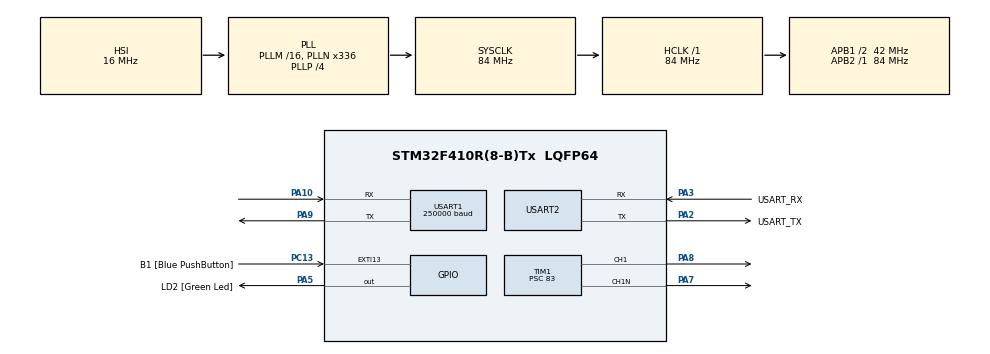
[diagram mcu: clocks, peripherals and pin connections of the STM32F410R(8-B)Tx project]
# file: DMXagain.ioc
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Mcu.Family=STM32F4
Mcu.Name=STM32F410R(8-B)Tx
Mcu.Package=LQFP64
NVIC.PriorityGroup=NVIC_PRIORITYGROUP_0
NVIC.USART1_IRQn=true\:0\:0\:false\:false\:true\:true\:true\:true
NVIC.USART2_IRQn=true\:0\:0\:false\:false\:true\:true\:true\:true
PA10.Mode=Asynchronous
PA10.Signal=USART1_RX
PA13.GPIO_Label=TMS
PA13.Mode=Serial_Wire
PA13.Signal=SYS_JTMS-SWDIO
PA14.GPIO_Label=TCK
PA14.Mode=Serial_Wire
PA14.Signal=SYS_JTCK-SWCLK
PA2.GPIO_Label=USART_TX
PA2.Mode=Asynchronous
PA2.Signal=USART2_TX
PA3.GPIO_Label=USART_RX
PA3.Mode=Asynchronous
PA3.Signal=USART2_RX
PA5.GPIO_Label=LD2 [Green Led]
PA5.Signal=GPIO_Output
PA7.Mode=PWM Generation1 CH1 CH1N
PA7.Signal=TIM1_CH1N
PA8.Signal=S_TIM1_CH1
PA9.Mode=Asynchronous
PA9.Signal=USART1_TX
PB3.GPIO_Label=SWO
PB3.Signal=SYS_JTDO-SWO
PC13-ANTI_TAMP.GPIO_Label=B1 [Blue PushButton]
PC13-ANTI_TAMP.GPIO_ModeDefaultEXTI=GPIO_MODE_IT_FALLING
PC13-ANTI_TAMP.Signal=GPXTI13
PC14-OSC32_IN.Mode=LSE-External-Oscillator
PC14-OSC32_IN.Signal=RCC_OSC32_IN
PC15-OSC32_OUT.Mode=LSE-External-Oscillator
PC15-OSC32_OUT.Signal=RCC_OSC32_OUT
PH0\ -\ OSC_IN.Mode=HSE-External-Clock-Source
PH0\ -\ OSC_IN.Signal=RCC_OSC_IN
PH1\ -\ OSC_OUT.Mode=HSE-External-Clock-Source
PH1\ -\ OSC_OUT.Signal=RCC_OSC_OUT
ProjectManager.HeapSize=0x200
ProjectManager.StackSize=0x400
ProjectManager.TargetToolchain=STM32CubeIDE
RCC.48MHZClocksFreq_Value=84000000
RCC.AHBFreq_Value=84000000
RCC.APB1CLKDivider=RCC_HCLK_DIV2
RCC.APB1Freq_Value=42000000
RCC.APB1TimFreq_Value=84000000
RCC.APB2Freq_Value=84000000
RCC.APB2TimFreq_Value=84000000
RCC.CortexFreq_Value=84000000
RCC.FLatency-AdvancedSettings=FLASH_LATENCY_2
RCC.HCLKFreq_Value=84000000
RCC.HSE_VALUE=8000000
RCC.HSI_VALUE=16000000
RCC.PLLN=336
RCC.PLLP=RCC_PLLP_DIV4
RCC.SYSCLKFreq_VALUE=84000000
RCC.SYSCLKSource=RCC_SYSCLKSOURCE_PLLCLK
RCC.VCOOutputFreq_Value=336000000
SH.S_TIM1_CH1.0=TIM1_CH1,PWM Generation1 CH1 CH1N
TIM1.Channel-PWM\ Generation1\ CH1\ CH1N=TIM_CHANNEL_1
TIM1.Period=999
TIM1.Prescaler=83
USART1.BaudRate=250000
USART1.StopBits=STOPBITS_2
USART1.VirtualMode=VM_ASYNC
USART2.VirtualMode=VM_ASYNC
board=NUCLEO-F410RB

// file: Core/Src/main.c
/* USER CODE BEGIN Header */
/**
  ******************************************************************************
  * @file           : main.c
  * @brief          : Main program body
  ******************************************************************************
  * @attention
  *
  * Copyright (c) 2023 STMicroelectronics.
  * All rights reserved.
  *
  * This software is licensed under terms that can be found in the LICENSE file
  * in the root directory of this software component.
  * If no LICENSE file comes with this software, it is provided AS-IS.
  *
  ******************************************************************************
  */
/* USER CODE END Header */
#include "main.h"

/* USER CODE BEGIN PD */
#define uart2TxRxSize 32
#define DMXSize 513
/* USER CODE END PD */

TIM_HandleTypeDef htim1;

UART_HandleTypeDef huart1;
UART_HandleTypeDef huart2;

/* USER CODE BEGIN PV */
uint8_t data[DMXSize];
uint8_t newData;
uint16_t dmxChannel;
uint8_t errorFlag;
uint8_t uart2RxData[uart2TxRxSize];
uint8_t uart2TxData[uart2TxRxSize];
/* USER CODE END PV */

void SystemClock_Config(void);
static void MX_GPIO_Init(void);
static void MX_USART2_UART_Init(void);
static void MX_USART1_UART_Init(void);
static void MX_TIM1_Init(void);

int main(void)
{
  /* USER CODE BEGIN 1 */
	int sizeText;
	int i = 0;
  /* USER CODE END 1 */

  /* MCU Configuration--------------------------------------------------------*/

  /* Reset of all peripherals, Initializes the Flash interface and the Systick. */
  HAL_Init();

  /* Configure the system clock */
  SystemClock_Config();

  /* Initialize all configured peripherals */
  MX_GPIO_Init();
  MX_USART2_UART_Init();
  MX_USART1_UART_Init();
  MX_TIM1_Init();
  /* USER CODE BEGIN 2 */
    sizeText = snprintf(uart2TxData,uart2TxRxSize,"Booting...\r\n");
  	HAL_UART_Transmit(&huart2, uart2TxData, sizeText, 100);
  	HAL_UART_Receive_IT(&huart2, uart2RxData, 1);
  	HAL_UART_Receive_IT(&huart1, &newData, 1);
  	HAL_TIM_PWM_Start (&htim1, TIM_CHANNEL_1);
  /* USER CODE END 2 */

  /* Infinite loop */
  /* USER CODE BEGIN WHILE */
  while (1)
  {
	  char stockage[136];
	  snprintf(stockage, 136, "DMX1: %d, DMX2: %d, DMX3: %d, DMX4: %d, DMX5: %d, DMX6: %d, DMX7: %d, DMX8: %d, DMX9: %d, DMX10: %d, DMX11: %d, DMX12: %d\r\n", data[1],data[2],data[3],data[4],data[5],data[6],data[7],data[8],data[9],data[10],data[11],data[12]);
	  //HAL_UART_Transmit(&huart2, data,sizeof(data), HAL_MAX_DELAY);
	  HAL_UART_Transmit(&huart2, stockage,sizeof(stockage), HAL_MAX_DELAY);
	  //if(data[1]==128){
		//  HAL_UART_Transmit(&huart2, "oui",sizeof("oui"), HAL_MAX_DELAY);
	  //}
	  //HAL_UART_Transmit(&huart2, data[1],sizeof(data[1]), HAL_MAX_DELAY);
	  //HAL_Delay(500);

	//__HAL_TIM_SET_COMPARE(&htim1, TIM_CHANNEL_1, i);
	//i = (i+1)%990;
	//HAL_Delay(10);

	__HAL_TIM_SET_COMPARE(&htim1, TIM_CHANNEL_1, data[1]); //on controle la LED avec le chanel 1
    /* USER CODE END WHILE */

  }
}

void SystemClock_Config(void)
{
  RCC_OscInitTypeDef RCC_OscInitStruct = {0};
  RCC_ClkInitTypeDef RCC_ClkInitStruct = {0};

  /** Configure the main internal regulator output voltage
  */
  __HAL_RCC_PWR_CLK_ENABLE();
  __HAL_PWR_VOLTAGESCALING_CONFIG(PWR_REGULATOR_VOLTAGE_SCALE1);

  /** Initializes the RCC Oscillators according to the specified parameters
  * in the RCC_OscInitTypeDef structure.
  */
  RCC_OscInitStruct.OscillatorType = RCC_OSCILLATORTYPE_HSI;
  RCC_OscInitStruct.HSIState = RCC_HSI_ON;
  RCC_OscInitStruct.HSICalibrationValue = RCC_HSICALIBRATION_DEFAULT;
  RCC_OscInitStruct.PLL.PLLState = RCC_PLL_ON;
  RCC_OscInitStruct.PLL.PLLSource = RCC_PLLSOURCE_HSI;
  RCC_OscInitStruct.PLL.PLLM = 16;
  RCC_OscInitStruct.PLL.PLLN = 336;
  RCC_OscInitStruct.PLL.PLLP = RCC_PLLP_DIV4;
  RCC_OscInitStruct.PLL.PLLQ = 4;
  RCC_OscInitStruct.PLL.PLLR = 2;
  if (HAL_RCC_OscConfig(&RCC_OscInitStruct) != HAL_OK)
  {
    Error_Handler();
  }

  /** Initializes the CPU, AHB and APB buses clocks
  */
  RCC_ClkInitStruct.ClockType = RCC_CLOCKTYPE_HCLK|RCC_CLOCKTYPE_SYSCLK
                              |RCC_CLOCKTYPE_PCLK1|RCC_CLOCKTYPE_PCLK2;
  RCC_ClkInitStruct.SYSCLKSource = RCC_SYSCLKSOURCE_PLLCLK;
  RCC_ClkInitStruct.AHBCLKDivider = RCC_SYSCLK_DIV1;
  RCC_ClkInitStruct.APB1CLKDivider = RCC_HCLK_DIV2;
  RCC_ClkInitStruct.APB2CLKDivider = RCC_HCLK_DIV1;

  if (HAL_RCC_ClockConfig(&RCC_ClkInitStruct, FLASH_LATENCY_2) != HAL_OK)
  {
    Error_Handler();
  }
}

static void MX_TIM1_Init(void)
{

  TIM_MasterConfigTypeDef sMasterConfig = {0};
  TIM_OC_InitTypeDef sConfigOC = {0};
  TIM_BreakDeadTimeConfigTypeDef sBreakDeadTimeConfig = {0};

  htim1.Instance = TIM1;
  htim1.Init.Prescaler = 83;
  htim1.Init.CounterMode = TIM_COUNTERMODE_UP;
  htim1.Init.Period = 999;
  htim1.Init.ClockDivision = TIM_CLOCKDIVISION_DIV1;
  htim1.Init.RepetitionCounter = 0;
  htim1.Init.AutoReloadPreload = TIM_AUTORELOAD_PRELOAD_DISABLE;
  if (HAL_TIM_PWM_Init(&htim1) != HAL_OK)
  {
    Error_Handler();
  }
  sMasterConfig.MasterOutputTrigger = TIM_TRGO_RESET;
  sMasterConfig.MasterSlaveMode = TIM_MASTERSLAVEMODE_DISABLE;
  if (HAL_TIMEx_MasterConfigSynchronization(&htim1, &sMasterConfig) != HAL_OK)
  {
    Error_Handler();
  }
  sConfigOC.OCMode = TIM_OCMODE_PWM1;
  sConfigOC.Pulse = 0;
  sConfigOC.OCPolarity = TIM_OCPOLARITY_HIGH;
  sConfigOC.OCNPolarity = TIM_OCNPOLARITY_HIGH;
  sConfigOC.OCFastMode = TIM_OCFAST_DISABLE;
  sConfigOC.OCIdleState = TIM_OCIDLESTATE_RESET;
  sConfigOC.OCNIdleState = TIM_OCNIDLESTATE_RESET;
  if (HAL_TIM_PWM_ConfigChannel(&htim1, &sConfigOC, TIM_CHANNEL_1) != HAL_OK)
  {
    Error_Handler();
  }
  sBreakDeadTimeConfig.OffStateRunMode = TIM_OSSR_DISABLE;
  sBreakDeadTimeConfig.OffStateIDLEMode = TIM_OSSI_DISABLE;
  sBreakDeadTimeConfig.LockLevel = TIM_LOCKLEVEL_OFF;
  sBreakDeadTimeConfig.DeadTime = 0;
  sBreakDeadTimeConfig.BreakState = TIM_BREAK_DISABLE;
  sBreakDeadTimeConfig.BreakPolarity = TIM_BREAKPOLARITY_HIGH;
  sBreakDeadTimeConfig.AutomaticOutput = TIM_AUTOMATICOUTPUT_DISABLE;
  if (HAL_TIMEx_ConfigBreakDeadTime(&htim1, &sBreakDeadTimeConfig) != HAL_OK)
  {
    Error_Handler();
  }
  HAL_TIM_MspPostInit(&htim1);

}

static void MX_USART1_UART_Init(void)
{

  huart1.Instance = USART1;
  huart1.Init.BaudRate = 250000;
  huart1.Init.WordLength = UART_WORDLENGTH_8B;
  huart1.Init.StopBits = UART_STOPBITS_2;
  huart1.Init.Parity = UART_PARITY_NONE;
  huart1.Init.Mode = UART_MODE_TX_RX;
  huart1.Init.HwFlowCtl = UART_HWCONTROL_NONE;
  huart1.Init.OverSampling = UART_OVERSAMPLING_16;
  if (HAL_UART_Init(&huart1) != HAL_OK)
  {
    Error_Handler();
  }

}

static void MX_USART2_UART_Init(void)
{

  huart2.Instance = USART2;
  huart2.Init.BaudRate = 115200;
  huart2.Init.WordLength = UART_WORDLENGTH_8B;
  huart2.Init.StopBits = UART_STOPBITS_1;
  huart2.Init.Parity = UART_PARITY_NONE;
  huart2.Init.Mode = UART_MODE_TX_RX;
  huart2.Init.HwFlowCtl = UART_HWCONTROL_NONE;
  huart2.Init.OverSampling = UART_OVERSAMPLING_16;
  if (HAL_UART_Init(&huart2) != HAL_OK)
  {
    Error_Handler();
  }

}

static void MX_GPIO_Init(void)
{
  GPIO_InitTypeDef GPIO_InitStruct = {0};

  /* GPIO Ports Clock Enable */
  __HAL_RCC_GPIOC_CLK_ENABLE();
  __HAL_RCC_GPIOH_CLK_ENABLE();
  __HAL_RCC_GPIOA_CLK_ENABLE();
  __HAL_RCC_GPIOB_CLK_ENABLE();

  /*Configure GPIO pin Output Level */
  HAL_GPIO_WritePin(LD2_GPIO_Port, LD2_Pin, GPIO_PIN_RESET);

  /*Configure GPIO pin : B1_Pin */
  GPIO_InitStruct.Pin = B1_Pin;
  GPIO_InitStruct.Mode = GPIO_MODE_IT_FALLING;
  GPIO_InitStruct.Pull = GPIO_NOPULL;
  HAL_GPIO_Init(B1_GPIO_Port, &GPIO_InitStruct);

  /*Configure GPIO pin : LD2_Pin */
  GPIO_InitStruct.Pin = LD2_Pin;
  GPIO_InitStruct.Mode = GPIO_MODE_OUTPUT_PP;
  GPIO_InitStruct.Pull = GPIO_NOPULL;
  GPIO_InitStruct.Speed = GPIO_SPEED_FREQ_LOW;
  HAL_GPIO_Init(LD2_GPIO_Port, &GPIO_InitStruct);

}

/* USER CODE BEGIN 4 */
void HAL_UART_RxCpltCallback(UART_HandleTypeDef *huart)
{
	int sizeText;
	if(huart->Instance==USART1){
		errorFlag = HAL_UART_GetError(&huart1);
		if(errorFlag & HAL_UART_ERROR_FE){
			dmxChannel = 0;
		}
		else{
			data[dmxChannel++]=newData;
		}
		HAL_UART_Receive_IT(&huart1, &newData, 1);
	}

	if(huart->Instance==USART2){
		sizeText = snprintf(uart2TxData,uart2TxRxSize,"Data[1] = 0x%2x\r\n", data[1]);
		HAL_UART_Transmit(&huart2, uart2TxData, sizeText, 100);
		HAL_UART_Receive_IT(&huart2, uart2RxData, 1);
	}
}

/* USER CODE END 4 */

void Error_Handler(void)
{
  __disable_irq();
  while (1)
  {
  }
}
